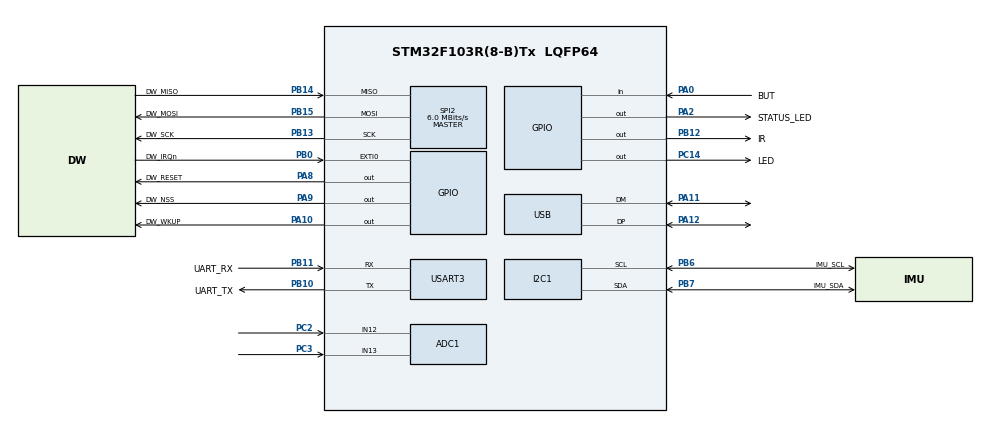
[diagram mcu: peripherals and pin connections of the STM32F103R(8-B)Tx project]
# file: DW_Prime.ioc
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ADC1.Channel-0\#ChannelRegularConversion=ADC_CHANNEL_12
ADC1.NbrOfConversionFlag=1
ADC1.Rank-0\#ChannelRegularConversion=1
ADC1.SamplingTime-0\#ChannelRegularConversion=ADC_SAMPLETIME_1CYCLE_5
ADC1.master=1
I2C1.I2C_Mode=I2C_Standard
Mcu.Family=STM32F1
Mcu.Name=STM32F103R(8-B)Tx
Mcu.Package=LQFP64
NVIC.EXTI0_IRQn=true\:1\:0\:true\:false\:true\:true
NVIC.I2C1_ER_IRQn=true\:0\:0\:false\:false\:true\:true
NVIC.I2C1_EV_IRQn=true\:2\:0\:true\:false\:true\:true
NVIC.PriorityGroup=NVIC_PRIORITYGROUP_4
NVIC.RTC_IRQn=true\:1\:0\:true\:false\:true\:true
NVIC.SPI2_IRQn=true\:2\:0\:true\:false\:true\:true
NVIC.USART3_IRQn=true\:1\:0\:true\:false\:true\:true
NVIC.USB_LP_CAN1_RX0_IRQn=true\:0\:0\:false\:false\:true\:false
PA0-WKUP.GPIO_Label=BUT
PA0-WKUP.Signal=GPIO_Input
PA10.GPIO_Label=DW_WKUP
PA10.Signal=GPIO_Output
PA11.Mode=Device
PA11.Signal=USB_DM
PA12.Mode=Device
PA12.Signal=USB_DP
PA13.GPIO_Label=J_TMS
PA13.Mode=JTAG_5_pins
PA13.Signal=SYS_JTMS-SWDIO
PA14.GPIO_Label=J_TCK
PA14.Mode=JTAG_5_pins
PA14.Signal=SYS_JTCK-SWCLK
PA15.GPIO_Label=J_TDI
PA15.Mode=JTAG_5_pins
PA15.Signal=SYS_JTDI
PA2.GPIO_Label=STATUS_LED
PA2.Signal=GPIO_Output
PA8.GPIO_Label=DW_RESET
PA8.Signal=GPIO_Output
PA9.GPIO_Label=DW_NSS
PA9.Signal=GPIO_Output
PB0.GPIO_Label=DW_IRQn
PB0.Signal=GPXTI0
PB10.GPIO_Label=UART_TX
PB10.Mode=Asynchronous
PB10.Signal=USART3_TX
PB11.GPIO_Label=UART_RX
PB11.Mode=Asynchronous
PB11.Signal=USART3_RX
PB12.GPIO_Label=IR
PB12.Signal=GPIO_Output
PB13.GPIO_Label=DW_SCK
PB13.Mode=Full_Duplex_Master
PB13.Signal=SPI2_SCK
PB14.GPIO_Label=DW_MISO
PB14.Mode=Full_Duplex_Master
PB14.Signal=SPI2_MISO
PB15.GPIO_Label=DW_MOSI
PB15.Mode=Full_Duplex_Master
PB15.Signal=SPI2_MOSI
PB3.GPIO_Label=J_TDO
PB3.Mode=JTAG_5_pins
PB3.Signal=SYS_JTDO-TRACESWO
PB4.GPIO_Label=J_TRST
PB4.Mode=JTAG_5_pins
PB4.Signal=SYS_NJTRST
PB6.GPIO_Label=IMU_SCL
PB6.Mode=I2C
PB6.Signal=I2C1_SCL
PB7.GPIO_Label=IMU_SDA
PB7.Mode=I2C
PB7.Signal=I2C1_SDA
PC14-OSC32_IN.GPIO_Label=LED
PC14-OSC32_IN.Signal=GPIO_Output
PC2.Signal=ADCx_IN12
PC3.Signal=ADCx_IN13
PD0-OSC_IN.Mode=HSE-External-Oscillator
PD0-OSC_IN.Signal=RCC_OSC_IN
PD1-OSC_OUT.Mode=HSE-External-Oscillator
PD1-OSC_OUT.Signal=RCC_OSC_OUT
ProjectManager.HeapSize=0x200
ProjectManager.StackSize=0x400
ProjectManager.TargetToolchain=SW4STM32
RCC.ADCPresc=RCC_ADCPCLK2_DIV6
RCC.AHBFreq_Value=48000000
RCC.APB1CLKDivider=RCC_HCLK_DIV2
RCC.APB1Freq_Value=24000000
RCC.APB1TimFreq_Value=48000000
RCC.APB2Freq_Value=48000000
RCC.APB2TimFreq_Value=48000000
RCC.HCLKFreq_Value=48000000
RCC.PLLMUL=RCC_PLL_MUL6
RCC.PLLSourceVirtual=RCC_PLLSOURCE_HSE
RCC.SYSCLKFreq_VALUE=48000000
RCC.SYSCLKSource=RCC_SYSCLKSOURCE_PLLCLK
RCC.USBFreq_Value=48000000
SH.ADCx_IN12.0=ADC1_IN12,IN12
SH.ADCx_IN13.0=ADC1_IN13,IN13
SPI2.BaudRatePrescaler=SPI_BAUDRATEPRESCALER_4
SPI2.CalculateBaudRate=6.0 MBits/s
SPI2.Direction=SPI_DIRECTION_2LINES
SPI2.Mode=SPI_MODE_MASTER
SPI2.VirtualType=VM_MASTER
TIM2.AutoReloadPreload=TIM_AUTORELOAD_PRELOAD_DISABLE
TIM2.Period=0
TIM2.Prescaler=32
USART3.Parity=PARITY_NONE
USART3.VirtualMode=VM_ASYNC
USB_DEVICE.CLASS_NAME_FS=CDC
USB_DEVICE.VirtualMode=Cdc
USB_DEVICE.VirtualModeFS=Cdc_FS
VP_RTC_VS_RTC_Activate.Mode=RTC_Enabled
VP_RTC_VS_RTC_Calendar.Mode=RTC_Calendar
VP_TIM2_VS_ClockSourceINT.Mode=Internal
VP_USB_DEVICE_VS_USB_DEVICE_CDC_FS.Mode=CDC_FS
board=custom

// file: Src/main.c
/* USER CODE BEGIN Header */
/**
  ******************************************************************************
  * @file           : main.c
  * @brief          : Main program body
  ******************************************************************************
  ** This notice applies to any and all portions of this file
  * that are not between comment pairs USER CODE BEGIN and
  * USER CODE END. Other portions of this file, whether
  * inserted by the user or by software development tools
  * are owned by their respective copyright owners.
  *
  * COPYRIGHT(c) 2019 STMicroelectronics
  *
  * Redistribution and use in source and binary forms, with or without modification,
  * are permitted provided that the following conditions are met:
  *   1. Redistributions of source code must retain the above copyright notice,
  *      this list of conditions and the following disclaimer.
  *   2. Redistributions in binary form must reproduce the above copyright notice,
  *      this list of conditions and the following disclaimer in the documentation
  *      and/or other materials provided with the distribution.
  *   3. Neither the name of STMicroelectronics nor the names of its contributors
  *      may be used to endorse or promote products derived from this software
  *      without specific prior written permission.
  *
  * THIS SOFTWARE IS PROVIDED BY THE COPYRIGHT HOLDERS AND CONTRIBUTORS "AS IS"
  * AND ANY EXPRESS OR IMPLIED WARRANTIES, INCLUDING, BUT NOT LIMITED TO, THE
  * IMPLIED WARRANTIES OF MERCHANTABILITY AND FITNESS FOR A PARTICULAR PURPOSE ARE
  * DISCLAIMED. IN NO EVENT SHALL THE COPYRIGHT HOLDER OR CONTRIBUTORS BE LIABLE
  * FOR ANY DIRECT, INDIRECT, INCIDENTAL, SPECIAL, EXEMPLARY, OR CONSEQUENTIAL
  * DAMAGES (INCLUDING, BUT NOT LIMITED TO, PROCUREMENT OF SUBSTITUTE GOODS OR
  * SERVICES; LOSS OF USE, DATA, OR PROFITS; OR BUSINESS INTERRUPTION) HOWEVER
  * CAUSED AND ON ANY THEORY OF LIABILITY, WHETHER IN CONTRACT, STRICT LIABILITY,
  * OR TORT (INCLUDING NEGLIGENCE OR OTHERWISE) ARISING IN ANY WAY OUT OF THE USE
  * OF THIS SOFTWARE, EVEN IF ADVISED OF THE POSSIBILITY OF SUCH DAMAGE.
  *
  ******************************************************************************
  */
/* USER CODE END Header */

#include "main.h"
#include "usb_device.h"

/* USER CODE BEGIN Includes */
#include "inttypes.h"
#include "stdlib.h"
#include "config.h"
#include "Pos_functions.h"

#include "platform_I2C.h"
#include "platform_I2C.c"
#include "bme280.h"
#include "bme280.c"
#include "selftest/bme280_selftest.h"
#include "selftest/bme280_selftest.c"
#include "lsm9ds1_reg.h"
#include "lsm9ds1_reg.c"
#include "sensors.c"

#include "config.h"
#include "port.h"
#include "deca_device_api.h"
#include "deca_regs.h"
#include "deca_spi.h"

/* USER CODE END Includes */

/* USER CODE BEGIN PV */
	uint32_t debugMsg = 0;
	int debugError = -1;
	uint32_t debugTimer = 0; //in 100s of us
	volatile uint16_t debugCmd = 0;
	uint32_t deviceID = 0;
	uint32_t result32;
#ifdef TAG
	uint32_t timeoutToWrite = POLL_RX_TO_RESP_TX_DLY_UUS;
#endif
	uint32_t a,b,c,d;
	dwt_rxdiag_t rxdiag;
	double globalTof, globalDistance;
    double distanceAccu = 0;
    double distanceAvg = 0;
    uint64_t distanceAvg64 = 0;
    uint64_t distanceAccu64 = 0;
	char testBuf[20] = {"\r \n Elo: "};
	uint8_t intBuf[100];
	uint8_t intBufAux[50];
	int16_t distCnt = 0;
	uint16_t newTxDelay, oldTxDelay;

	uint8_t transmitEnable = 0;
	uint8_t currentAnchor = ANCHOR_NUMBER;
	uint8_t delayVar = 1;
	uint8_t usbRxFlag = 0;
	uint8_t usbRxBuffer[40];

	uint64_t testTagDist;
#ifdef POS_FUNCTIONS
	uwb_data_t globalUWBData;
#endif

/* USER CODE END PV */

/* USER CODE BEGIN PFP */

void Start_Measuring_Time();
uint32_t Stop_Measuring_Time();
void Send_Timestamp(uint64_t timestamp);
/* USER CODE END PFP */

/* USER CODE BEGIN 0 */

void Start_Measuring_Time()
{
	TIM2->CNT = 0;
	HAL_TIM_Base_Start(&htim2);
}

uint32_t Stop_Measuring_Time()
{
	 HAL_TIM_Base_Stop(&htim2);
	 return TIM2->CNT;
}

void Send_Timestamp(uint64_t timestamp)
{
	char uartBuffer[30];
	typedef union
	{
		uint64_t var64;
		uint32_t var32[2];
	}combined_t;

	combined_t combinedVar;
	combinedVar.var64 = timestamp;
	HAL_UART_Transmit(&huart3, uartBuffer, sprintf(uartBuffer, "%ld %ld \r \n", combinedVar.var32[1], combinedVar.var32[0]), 100U);

}

struct bme280_data TPHdata;
struct bme280_dev TPHdevice;
int8_t TPH_state = BME280_OK;
lsm9ds1_id_t whoamI;

axis3bit16_t gyro;
axis3bit16_t accel;
axis3bit16_t mag;
static lsm9ds1_status_t reg;

typedef struct
{
	int16_t ax;
	int16_t ay;
	int16_t az;
	int16_t gx;
	int16_t gy;
	int16_t gz;
	int16_t mx;
	int16_t my;
	int16_t mz;
}IMU_Data_t;

IMU_Data_t IMU_Readout;

/* USER CODE END 0 */

int main(void)
{
  /* USER CODE BEGIN 1 */
	uint8_t cnt = 0;
	char startBuf[] = {"Dobry"};
	char usbBuf[20];
	GPIO_InitTypeDef ledDef;
	ledDef.Mode = GPIO_MODE_OUTPUT_PP;
	ledDef.Pin = LED_Pin;
	ledDef.Pull = GPIO_NOPULL;
	ledDef.Speed = GPIO_SPEED_FREQ_LOW;

  /* USER CODE END 1 */

  /* MCU Configuration--------------------------------------------------------*/

  /* Reset of all peripherals, Initializes the Flash interface and the Systick. */
  HAL_Init();

  /* Configure the system clock */
  SystemClock_Config();

  /* Initialize all configured peripherals */
  MX_GPIO_Init();
  MX_SPI2_Init();
  MX_USART3_UART_Init();
  MX_I2C1_Init();
  MX_RTC_Init();
  MX_TIM2_Init();
  MX_ADC1_Init();
  //MX_USB_DEVICE_Init();
  /* USER CODE BEGIN 2 */
  __HAL_RCC_GPIOC_CLK_ENABLE();
  HAL_GPIO_Init(LED_GPIO_Port, &ledDef);

#ifdef NUCLEO
  ledDef.Pin = IR_Pin;
  HAL_GPIO_Init(IR_GPIO_Port, &ledDef);
#endif
  HAL_PWR_DisableWakeUpPin(PWR_WAKEUP_PIN1);

  GPIO_InitTypeDef butDef;
  butDef.Pin = BUT_Pin;
  butDef.Mode = GPIO_MODE_INPUT;
  butDef.Pull = GPIO_PULLUP;
  HAL_GPIO_Init(BUT_GPIO_Port, &butDef);

#ifdef POS_FUNCTIONS
#ifdef ANCHOR
  UWB_Anchor_Init();
  globalUWBData.timeout = 2750;
#endif

#ifdef TAG
  deviceID = 0xEE;
  UWB_Tag_Init();
  globalUWBData.timeout = POLL_RX_TO_RESP_TX_DLY_UUS;
  newTxDelay = TX_ANT_DLY;
  oldTxDelay = newTxDelay;
#endif

#endif

  deviceID = dwt_readdevid();
  HAL_GPIO_WritePin(LED_GPIO_Port, LED_Pin, LED_ACTIVE_STATE);

#ifdef NUCLEO
  HAL_GPIO_WritePin(IR_GPIO_Port, IR_Pin, LED_ACTIVE_STATE);
#endif
  HAL_UART_Transmit(&huart3, startBuf, sizeof(startBuf), 100U);

#ifdef USETPH
 TPH_Init(&TPHdevice);
#endif

#ifdef USEIMU

  uint8_t i2c_add_mag = LSM9DS1_MAG_I2C_ADD_H;
  lsm9ds1_ctx_t dev_ctx_mag;
  dev_ctx_mag.write_reg = IMU_I2C_Write;
  dev_ctx_mag.read_reg = IMU_I2C_Read;
  dev_ctx_mag.handle = (void*)&i2c_add_mag;

  /* Initialize magnetic sensors driver interface */
  uint8_t i2c_add_imu = LSM9DS1_IMU_I2C_ADD_H;
  lsm9ds1_ctx_t dev_ctx_imu;
  dev_ctx_imu.write_reg = IMU_I2C_Write;
  dev_ctx_imu.read_reg = IMU_I2C_Read;
  dev_ctx_imu.handle = (void*)&i2c_add_imu;

  lsm9ds1_dev_id_get(&dev_ctx_mag, &dev_ctx_imu, &whoamI);
/*
  if (whoamI.imu != LSM9DS1_IMU_ID || whoamI.mag != LSM9DS1_MAG_ID){
    while(1){

    	HAL_GPIO_TogglePin(LED_GPIO_Port, LED_Pin);
    	HAL_Delay(50);

    }
  }
*/
  uint8_t rst;
  lsm9ds1_dev_reset_set(&dev_ctx_mag, &dev_ctx_imu, PROPERTY_ENABLE);
  do {
    lsm9ds1_dev_reset_get(&dev_ctx_mag, &dev_ctx_imu, &rst);
  } while (rst);

  /* Enable Block Data Update */
  lsm9ds1_block_data_update_set(&dev_ctx_mag, &dev_ctx_imu, PROPERTY_ENABLE);

  /* Set full scale */
  lsm9ds1_xl_full_scale_set(&dev_ctx_imu, LSM9DS1_4g);
  lsm9ds1_gy_full_scale_set(&dev_ctx_imu, LSM9DS1_2000dps);
  lsm9ds1_mag_full_scale_set(&dev_ctx_mag, LSM9DS1_16Ga);

  /* Configure filtering chain - See datasheet for filtering chain details */
  /* Accelerometer filtering chain */
  lsm9ds1_xl_filter_aalias_bandwidth_set(&dev_ctx_imu, LSM9DS1_AUTO);
  lsm9ds1_xl_filter_lp_bandwidth_set(&dev_ctx_imu, LSM9DS1_LP_ODR_DIV_50);
  lsm9ds1_xl_filter_out_path_set(&dev_ctx_imu, LSM9DS1_LP_OUT);
  /* Gyroscope filtering chain */
  lsm9ds1_gy_filter_lp_bandwidth_set(&dev_ctx_imu, LSM9DS1_LP_ULTRA_LIGHT);
  lsm9ds1_gy_filter_hp_bandwidth_set(&dev_ctx_imu, LSM9DS1_HP_MEDIUM);
  lsm9ds1_gy_filter_out_path_set(&dev_ctx_imu, LSM9DS1_LPF1_HPF_LPF2_OUT);

  /* Set Output Data Rate / Power mode */
  lsm9ds1_imu_data_rate_set(&dev_ctx_imu, LSM9DS1_IMU_59Hz5);
  lsm9ds1_mag_data_rate_set(&dev_ctx_mag, LSM9DS1_MAG_UHP_10Hz);

#endif

  /* USER CODE END 2 */

  /* Infinite loop */
  while (1)
  {

    /* USER CODE BEGIN 3 */

#ifdef POS_FUNCTIONS
#ifdef ANCHOR

	  //d jak data.
	  //sprintf(intBuf, "d \r \n T: %ul \r \n H: %ul \r \n p: %ul \r \n", TPHdata.temperature, TPHdata.humidity, TPHdata.pressure);

	 // HAL_Delay(delayVar);
	  //UWB_Send_Data(intBuf, 50);

	  Start_Measuring_Time();

	  UWB_Anchor_Get_Distance(&globalUWBData, 1);
	  UWB_Anchor_Get_Distance(&globalUWBData, 2);
      UWB_Anchor_Get_Distance(&globalUWBData, 3);
      UWB_Anchor_Get_Distance(&globalUWBData, 4);

      dwt_readdiagnostics(&rxdiag);

      if(usbRxFlag == 1)
      {
    	  usbRxFlag = 0;

    	  newTxDelay = atoi(usbRxBuffer);
    	  CDC_Transmit_FS(intBuf, sprintf(intBuf, "Nowy delay: %d \r \n", newTxDelay));
      }

      CDC_Transmit_FS(intBuf, sprintf(intBuf, " %ld \r \n", testTagDist));

#ifdef USETPH
      TPH_Get_Data(&TPHdevice, &TPHdata);
#endif
#ifdef USEIMU

	  lsm9ds1_dev_status_get(&dev_ctx_mag, &dev_ctx_imu, &reg);
	  if ( reg.status_imu.xlda && reg.status_imu.gda)
	  {
		  lsm9ds1_acceleration_raw_get(&dev_ctx_imu, accel.i16bit);
		  lsm9ds1_angular_rate_raw_get(&dev_ctx_imu, gyro.i16bit);

		  IMU_Readout.ax = accel.i16bit[0];
		  IMU_Readout.ay = accel.i16bit[1];
		  IMU_Readout.az = accel.i16bit[2];

		  IMU_Readout.gx = gyro.i16bit[0];
		  IMU_Readout.gy = gyro.i16bit[1];
		  IMU_Readout.gz = gyro.i16bit[2];

	  }
      if(reg.status_mag.zyxda)
      {
    	  lsm9ds1_magnetic_raw_get(&dev_ctx_mag, mag.i16bit);

    	  IMU_Readout.mx = mag.i16bit[0];
    	  IMU_Readout.my = mag.i16bit[1];
    	  IMU_Readout.mz = mag.i16bit[2];

      }

#endif //USE_IMU
      debugTimer = Stop_Measuring_Time();
#ifdef DELAY_CALIBRATION
      if(oldTxDelay != newTxDelay)
      {
    	  dwt_settxantennadelay(newTxDelay);
    	  dwt_setrxantennadelay(newTxDelay);
    	  oldTxDelay = newTxDelay;
      }
#endif
#endif
#ifdef TAG
#ifdef DELAY_CALIBRATION
      for(distCnt = 0; distCnt < 100; distCnt++)
      {
          if(UWB_Tag_Get_Distance(&globalUWBData,1) != 0)
          {
        	  distCnt--;
          }
          else
          {
        	  distanceAccu += globalUWBData.uwbDistance;
        	  distanceAccu64 += globalUWBData.uwbDistance64;
          }

      }
      distanceAvg = distanceAccu/100;
      distanceAvg64 = distanceAccu64/100;
      distanceAccu64 = 0;
      distanceAccu = 0;
      CDC_Transmit_FS(intBuf, sprintf(intBuf, "%ldE-8 \r \n", distanceAvg64));
      if(usbRxFlag == 1)
      {
    	  usbRxFlag = 0;

    	  newTxDelay = atoi(usbRxBuffer);
    	  CDC_Transmit_FS(intBuf, sprintf(intBuf, "Nowy delay: %d \r \n", newTxDelay));
      }
      if(oldTxDelay != newTxDelay)
      {
    	  dwt_settxantennadelay(newTxDelay);
    	  dwt_setrxantennadelay(newTxDelay);
    	  oldTxDelay = newTxDelay;
      }
#endif

Start_Measuring_Time();

#ifndef DELAY_CALIBRATION
/*
if(usbRxFlag == 1)
{
	  usbRxFlag = 0;
	  if(usbRxBuffer[0] == 'g')
	  {
		  transmitEnable = 1;
		  CDC_Transmit_FS(intBuf, sprintf(intBuf, "GO \r \n"));

	  }

	  if(usbRxBuffer[0] == 'h')
	  {
		  transmitEnable = 0;
		  CDC_Transmit_FS(intBuf, sprintf(intBuf, "HALT \r \n"));
	  }
	  if(usbRxBuffer[0] == 'c')
	  {
		  currentAnchor = (usbRxBuffer[1]-48); //ASCII 1-4
		  CDC_Transmit_FS(intBuf, sprintf(intBuf, "CURRENT ANCHOR: %i \r \n", currentAnchor));
	  }
      if(usbRxBuffer[0] == 'a')
      {
    	  CDC_Transmit_FS(intBuf, sprintf(intBuf, "CURRENT ANCHOR: %i \r \n", currentAnchor));
    	  for(uint8_t ledCnt = 0; ledCnt < 10; ledCnt++)
    	  {
			  HAL_GPIO_TogglePin(IR_GPIO_Port, IR_Pin);
			  HAL_Delay(100);
    	  }

      }

}
*/

if(UWB_Tag_Get_Distance(&globalUWBData, currentAnchor) == 2)
{

	//Tutaj raczej odczytaj bufor a nie probuj znowu receive robic.
	//if(UWB_Get_Data(intBuf) == 0) <- odczyt z bufora tylko.
	//CDC_Transmit_FS(intBuf, 40);
}
if(UWB_Tag_Get_Distance(&globalUWBData, currentAnchor) == 0)
{

/*
if(UWB_Get_Data(intBuf) == 0)
{
	HAL_GPIO_TogglePin(LED_GPIO_Port, LED_Pin);
	CDC_Transmit_FS(intBuf, 40);
}
*/
debugTimer = Stop_Measuring_Time();
//HAL_GPIO_TogglePin(LED_GPIO_Port, LED_Pin);

if(transmitEnable == 1)
{

	//CDC_Transmit_FS(intBuf, sprintf(intBuf, "\r \n %ldE-9 \r \n", globalUWBData.uwbDistance64));
	HAL_UART_Transmit(&huart3, intBuf, sprintf(intBuf, "\r \n %ldE-9 \r \n", globalUWBData.uwbDistance64), 100U);
	HAL_GPIO_WritePin(LED_GPIO_Port, LED_Pin, !LED_ACTIVE_STATE);
}
else
{
	HAL_GPIO_WritePin(LED_GPIO_Port, LED_Pin, LED_ACTIVE_STATE);
}

#ifdef USETPH

TPH_Get_Data(&TPHdevice, &TPHdata);

#endif //USE_TPH

#ifdef USEIMU

	  lsm9ds1_dev_status_get(&dev_ctx_mag, &dev_ctx_imu, &reg);
	  if ( reg.status_imu.xlda && reg.status_imu.gda)
	  {
		  lsm9ds1_acceleration_raw_get(&dev_ctx_imu, accel.i16bit);
		  lsm9ds1_angular_rate_raw_get(&dev_ctx_imu, gyro.i16bit);

		  IMU_Readout.ax = accel.i16bit[0];
		  IMU_Readout.ay = accel.i16bit[1];
		  IMU_Readout.az = accel.i16bit[2];

		  IMU_Readout.gx = gyro.i16bit[0];
		  IMU_Readout.gy = gyro.i16bit[1];
		  IMU_Readout.gz = gyro.i16bit[2];

	  }
      if(reg.status_mag.zyxda)
      {
    	  lsm9ds1_magnetic_raw_get(&dev_ctx_mag, mag.i16bit);

    	  IMU_Readout.mx = mag.i16bit[0];
    	  IMU_Readout.my = mag.i16bit[1];
    	  IMU_Readout.mz = mag.i16bit[2];

      }

#endif //USE_IMU
}

#endif //DELAY_CALIBRATION
#endif
#endif

#ifdef UART_BLINK
      HAL_UART_Receive(&huart3, intBuf, 15, 10U);
      if(intBuf[0] == 'a')
      {
    	  HAL_UART_Transmit(&huart3, intBuf, sprintf(intBuf, "Zamigano \r \n"), 10U);
    	  for(uint8_t ledCnt = 0; ledCnt < 10; ledCnt++)
    	  {
			  HAL_GPIO_TogglePin(IR_GPIO_Port, IR_Pin);
			  HAL_Delay(100);
    	  }

      }
      else if(intBuf[0] == 'd')
      {
    	  result32 = atoi(&intBuf[2]);
    	  dwt_settxantennadelay(result32);

      }
      //flush
      for(uint8_t cnt = 0; cnt < 100; cnt++)
      {
    	  intBuf[cnt] = 0;
      }

/*
      if(oldTxDelay != newTxDelay)
      {
    	  dwt_settxantennadelay(newTxDelay);
    	  oldTxDelay = newTxDelay;
      }
*/
#endif

  }
  /* USER CODE END 3 */
}

/************************ (C) COPYRIGHT STMicroelectronics *****END OF FILE****/
